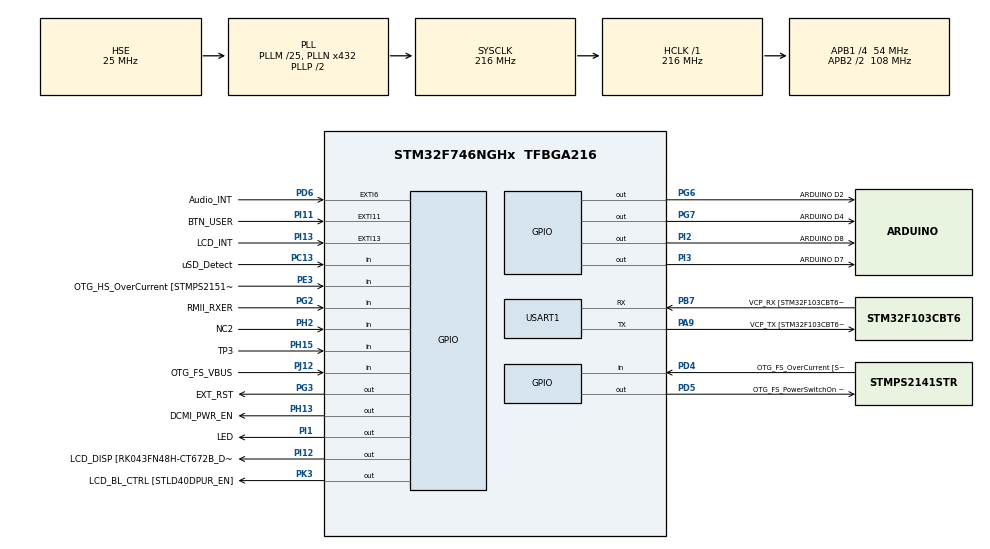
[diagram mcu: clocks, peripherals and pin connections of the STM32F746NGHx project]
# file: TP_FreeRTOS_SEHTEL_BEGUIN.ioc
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FREERTOS.Tasks01=defaultTask,0,128,StartDefaultTask,Default,NULL,Dynamic,NULL,NULL
Mcu.Family=STM32F7
Mcu.Name=STM32F746NGHx
Mcu.Package=TFBGA216
NVIC.PriorityGroup=NVIC_PRIORITYGROUP_4
PA0/WKUP.GPIO_Label=ARDUINO A0
PA0/WKUP.GPIO_Mode=GPIO_MODE_ANALOG
PA0/WKUP.GPIO_PuPd=GPIO_NOPULL
PA0/WKUP.Signal=ADCx_IN0
PA1.GPIO_Label=RMII_REF_CLK [LAN8742A-CZ-TR_REFCLK0]
PA1.Signal=ETH_REF_CLK
PA10.GPIO_Label=OTG_FS_ID
PA10.Signal=USB_OTG_FS_ID
PA11.GPIO_Label=OTG_FS_N
PA11.Signal=USB_OTG_FS_DM
PA12.GPIO_Label=OTG_FS_P
PA12.Signal=USB_OTG_FS_DP
PA13.GPIO_Label=SWDIO
PA13.Mode=Trace_Asynchronous_SW
PA13.Signal=SYS_JTMS-SWDIO
PA14.GPIO_Label=SWCLK
PA14.Mode=Trace_Asynchronous_SW
PA14.Signal=SYS_JTCK-SWCLK
PA15.GPIO_Label=ARDUINO PWM/D9
PA15.GPIO_ModeDefaultPP=GPIO_MODE_AF_PP
PA15.GPIO_PuPd=GPIO_NOPULL
PA15.GPIO_Speed=GPIO_SPEED_FREQ_LOW
PA15.Signal=S_TIM2_CH1_ETR
PA2.GPIO_Label=RMII_MDIO [LAN8742A-CZ-TR_MDIO]
PA2.Signal=ETH_MDIO
PA3.GPIO_Label=ULPI_D0 [USB3320C-EZK_D0]
PA3.Signal=USB_OTG_HS_ULPI_D0
PA4.GPIO_Label=DCMI_HSYNC
PA4.Signal=DCMI_HSYNC
PA5.GPIO_Label=ULPI_CLK [USB3320C-EZK_CLKOUT]
PA5.Signal=USB_OTG_HS_ULPI_CK
PA6.Signal=DCMI_PIXCLK
PA7.GPIO_Label=RMII_CRS_DV [LAN8742A-CZ-TR_CRS_DV]
PA7.Signal=ETH_CRS_DV
PA8.GPIO_Label=ARDUINO PWM/D10
PA8.GPIO_ModeDefaultPP=GPIO_MODE_AF_PP
PA8.GPIO_PuPd=GPIO_NOPULL
PA8.GPIO_Speed=GPIO_SPEED_FREQ_LOW
PA8.Signal=S_TIM1_CH1
PA9.GPIO_Label=VCP_TX [STM32F103CBT6_PA3]
PA9.GPIO_Mode=GPIO_MODE_AF_PP
PA9.GPIO_PuPd=GPIO_NOPULL
PA9.GPIO_Speed=GPIO_SPEED_FREQ_LOW
PA9.Mode=Asynchronous
PA9.Signal=USART1_TX
PB0.GPIO_Label=ULPI_D1 [USB3320C-EZK_D1]
PB0.Signal=USB_OTG_HS_ULPI_D1
PB1.GPIO_Label=ULPI_D2 [USB3320C-EZK_D2]
PB1.Signal=USB_OTG_HS_ULPI_D2
PB10.GPIO_Label=ULPI_D3 [USB3320C-EZK_D3]
PB10.Signal=USB_OTG_HS_ULPI_D3
PB11.GPIO_Label=ULPI_D4 [USB3320C-EZK_D4]
PB11.Signal=USB_OTG_HS_ULPI_D4
PB12.GPIO_Label=ULPI_D5 [USB3320C-EZK_D5]
PB12.Signal=USB_OTG_HS_ULPI_D5
PB13.GPIO_Label=ULPI_D6 [USB3320C-EZK_D6]
PB13.Signal=USB_OTG_HS_ULPI_D6
PB14.GPIO_Label=ARDUINO MISO/D12
PB14.GPIO_Mode=GPIO_MODE_AF_PP
PB14.GPIO_PuPd=GPIO_NOPULL
PB14.GPIO_Speed=GPIO_SPEED_FREQ_LOW
PB14.Signal=SPI2_MISO
PB15.GPIO_Label=ARDUINO MOSI/PWM/D11
PB15.GPIO_Mode=GPIO_MODE_AF_PP
PB15.GPIO_PuPd=GPIO_NOPULL
PB15.GPIO_Speed=GPIO_SPEED_FREQ_LOW
PB15.Signal=SPI2_MOSI
PB2.Signal=QUADSPI_CLK
PB3.GPIO_Label=SWO
PB3.Mode=Trace_Asynchronous_SW
PB3.Signal=SYS_JTDO-SWO
PB4.GPIO_Label=ARDUINO PWM/D3
PB4.GPIO_ModeDefaultPP=GPIO_MODE_AF_PP
PB4.GPIO_PuPd=GPIO_NOPULL
PB4.GPIO_Speed=GPIO_SPEED_FREQ_LOW
PB4.Signal=S_TIM3_CH1
PB5.GPIO_Label=ULPI_D7 [USB3320C-EZK_D7]
PB5.Signal=USB_OTG_HS_ULPI_D7
PB6.GPIO_Label=QSPI_NCS [N25Q128A13EF840E_S]
PB6.Signal=QUADSPI_BK1_NCS
PB7.GPIO_Label=VCP_RX [STM32F103CBT6_PA2]
PB7.GPIO_Mode=GPIO_MODE_AF_PP
PB7.GPIO_PuPd=GPIO_NOPULL
PB7.GPIO_Speed=GPIO_SPEED_FREQ_LOW
PB7.Mode=Asynchronous
PB7.Signal=USART1_RX
PB8.GPIO_Label=ARDUINO SCL/D15
PB8.GPIO_Mode=GPIO_MODE_AF_OD
PB8.GPIO_PuPd=GPIO_NOPULL
PB8.GPIO_Speed=GPIO_SPEED_FREQ_LOW
PB8.Signal=I2C1_SCL
PB9.GPIO_Label=ARDUINO SDA/D14
PB9.GPIO_Mode=GPIO_MODE_AF_OD
PB9.GPIO_PuPd=GPIO_NOPULL
PB9.GPIO_Speed=GPIO_SPEED_FREQ_LOW
PB9.Signal=I2C1_SDA
PC0.GPIO_Label=ULPI_STP [USB3320C-EZK_STP]
PC0.Signal=USB_OTG_HS_ULPI_STP
PC1.GPIO_Label=RMII_MDC [LAN8742A-CZ-TR_MDC]
PC1.Signal=ETH_MDC
PC10.GPIO_Label=SDMMC_D2
PC10.Signal=SDMMC1_D2
PC11.GPIO_Label=SDMMC_D3
PC11.Signal=SDMMC1_D3
PC12.GPIO_Label=SDMMC_CK
PC12.Signal=SDMMC1_CK
PC13.GPIO_Label=uSD_Detect
PC13.Signal=GPIO_Input
PC14/OSC32_IN.GPIO_Label=RCC_OSC32_IN
PC14/OSC32_IN.Signal=RCC_OSC32_IN
PC15/OSC32_OUT.GPIO_Label=RCC_OSC32_OUT
PC15/OSC32_OUT.Signal=RCC_OSC32_OUT
PC2.GPIO_Label=ULPI_DIR [USB3320C-EZK_DIR]
PC2.Signal=USB_OTG_HS_ULPI_DIR
PC3.GPIO_Label=FMC_SDCKE0 [MT48LC4M32B2B5-6A_CKE]
PC3.Signal=FMC_SDCKE0
PC4.GPIO_Label=RMII_RXD0 [LAN8742A-CZ-TR_RXD0]
PC4.Signal=ETH_RXD0
PC5.GPIO_Label=RMII_RXD1 [LAN8742A-CZ-TR_RXD1]
PC5.Signal=ETH_RXD1
PC6.GPIO_Label=ARDUINO TX/D1
PC6.Signal=USART6_TX
PC7.GPIO_Label=ARDUINO RX/D0
PC7.Signal=USART6_RX
PC8.Signal=SDMMC1_D0
PC9.Signal=SDMMC1_D1
PD0.GPIO_Label=FMC_D2 [MT48LC4M32B2B5-6A_DQ2]
PD0.Signal=FMC_D2_DA2
PD1.GPIO_Label=FMC_D3 [MT48LC4M32B2B5-6A_DQ3]
PD1.Signal=FMC_D3_DA3
PD10.GPIO_Label=FMC_D15 [MT48LC4M32B2B5-6A_DQ15]
PD10.Signal=FMC_D15_DA15
PD11.GPIO_Label=QSPI_D0 [N25Q128A13EF840E_DQ0]
PD11.Signal=QUADSPI_BK1_IO0
PD12.GPIO_Label=QSPI_D1 [N25Q128A13EF840E_DQ1]
PD12.Signal=QUADSPI_BK1_IO1
PD13.GPIO_Label=QSPI_D3 [N25Q128A13EF840E_DQ3]
PD13.Signal=QUADSPI_BK1_IO3
PD14.GPIO_Label=FMC_D0 [MT48LC4M32B2B5-6A_DQ0]
PD14.Signal=FMC_D0_DA0
PD15.GPIO_Label=FMC_D1 [MT48LC4M32B2B5-6A_DQ1]
PD15.Signal=FMC_D1_DA1
PD2.GPIO_Label=SDMMC_D0
PD2.Signal=SDMMC1_CMD
PD3.GPIO_Label=DCMI_D5
PD3.Signal=DCMI_D5
PD4.GPIO_Label=OTG_FS_OverCurrent [STMPS2141STR_Fault]
PD4.Signal=GPIO_Input
PD5.GPIO_Label=OTG_FS_PowerSwitchOn [STMPS2141STR_EN]
PD5.PinState=GPIO_PIN_SET
PD5.Signal=GPIO_Output
PD6.GPIO_Label=Audio_INT
PD6.GPIO_ModeDefaultEXTI=GPIO_MODE_EVT_RISING
PD6.Signal=GPXTI6
PD7.GPIO_Label=SPDIF_RX0 [74LVC1G04SE_4]
PD7.Signal=SPDIFRX_IN0
PD8.GPIO_Label=FMC_D13 [MT48LC4M32B2B5-6A_DQ13]
PD8.Signal=FMC_D13_DA13
PD9.GPIO_Label=FMC_D14 [MT48LC4M32B2B5-6A_DQ14]
PD9.Signal=FMC_D14_DA14
PE0.GPIO_Label=FMC_NBL0 [MT48LC4M32B2B5-6A_DQM0]
PE0.Signal=FMC_NBL0
PE1.GPIO_Label=FMC_NBL1 [MT48LC4M32B2B5-6A_DQM1]
PE1.Signal=FMC_NBL1
PE10.GPIO_Label=FMC_D7 [MT48LC4M32B2B5-6A_DQ7]
PE10.Signal=FMC_D7_DA7
PE11.GPIO_Label=FMC_D8 [MT48LC4M32B2B5-6A_DQ8]
PE11.Signal=FMC_D8_DA8
PE12.GPIO_Label=FMC_D9 [MT48LC4M32B2B5-6A_DQ9]
PE12.Signal=FMC_D9_DA9
PE13.GPIO_Label=FMC_D10 [MT48LC4M32B2B5-6A_DQ10]
PE13.Signal=FMC_D10_DA10
PE14.GPIO_Label=FMC_D11 [MT48LC4M32B2B5-6A_DQ11]
PE14.Signal=FMC_D11_DA11
PE15.GPIO_Label=FMC_D12 [MT48LC4M32B2B5-6A_DQ12]
PE15.Signal=FMC_D12_DA12
PE2.GPIO_Label=QSPI_D2 [N25Q128A13EF840E_DQ2]
PE2.Signal=QUADSPI_BK1_IO2
PE3.GPIO_Label=OTG_HS_OverCurrent [STMPS2151STR_FAULT]
PE3.Signal=GPIO_Input
PE4.GPIO_Label=LCD_B0 [RK043FN48H-CT672B_B0]
PE4.Signal=LTDC_B0
PE5.GPIO_Label=DCMI_D6
PE5.Signal=DCMI_D6
PE6.GPIO_Label=DCMI_D7
PE6.Signal=DCMI_D7
PE7.GPIO_Label=FMC_D4 [MT48LC4M32B2B5-6A_DQ4]
PE7.Signal=FMC_D4_DA4
PE8.GPIO_Label=FMC_D5 [MT48LC4M32B2B5-6A_DQ5]
PE8.Signal=FMC_D5_DA5
PE9.GPIO_Label=FMC_D6 [MT48LC4M32B2B5-6A_DQ6]
PE9.Signal=FMC_D6_DA6
PF0.GPIO_Label=FMC_A0 [MT48LC4M32B2B5-6A_A0]
PF0.Signal=FMC_A0
PF1.GPIO_Label=FMC_A1 [MT48LC4M32B2B5-6A_A1]
PF1.Signal=FMC_A1
PF10.GPIO_Label=ARDUINO A1
PF10.GPIO_Mode=GPIO_MODE_ANALOG
PF10.GPIO_PuPd=GPIO_NOPULL
PF10.Signal=ADC3_IN8
PF11.GPIO_Label=FMC_SDNRAS [MT48LC4M32B2B5-6A_RAS]
PF11.Signal=FMC_SDNRAS
PF12.GPIO_Label=FMC_A6 [MT48LC4M32B2B5-6A_A6]
PF12.Signal=FMC_A6
PF13.GPIO_Label=FMC_A7 [MT48LC4M32B2B5-6A_A7]
PF13.Signal=FMC_A7
PF14.GPIO_Label=FMC_A8 [MT48LC4M32B2B5-6A_A8]
PF14.Signal=FMC_A8
PF15.GPIO_Label=FMC_A9 [MT48LC4M32B2B5-6A_A9]
PF15.Signal=FMC_A9
PF2.GPIO_Label=FMC_A2 [MT48LC4M32B2B5-6A_A2]
PF2.Signal=FMC_A2
PF3.GPIO_Label=FMC_A3 [MT48LC4M32B2B5-6A_A3]
PF3.Signal=FMC_A3
PF4.GPIO_Label=FMC_A4 [MT48LC4M32B2B5-6A_A4]
PF4.Signal=FMC_A4
PF5.GPIO_Label=FMC_A5 [MT48LC4M32B2B5-6A_A5]
PF5.Signal=FMC_A5
PF6.GPIO_Label=ARDUINO A5
PF6.GPIO_Mode=GPIO_MODE_ANALOG
PF6.GPIO_PuPd=GPIO_NOPULL
PF6.Signal=ADC3_IN4
PF7.GPIO_Label=ARDUINO A4
PF7.GPIO_Mode=GPIO_MODE_ANALOG
PF7.GPIO_PuPd=GPIO_NOPULL
PF7.Signal=ADC3_IN5
PF8.GPIO_Label=ARDUINO A3
PF8.GPIO_Mode=GPIO_MODE_ANALOG
PF8.GPIO_PuPd=GPIO_NOPULL
PF8.Signal=ADC3_IN6
PF9.GPIO_Label=ARDUINO A2
PF9.GPIO_Mode=GPIO_MODE_ANALOG
PF9.GPIO_PuPd=GPIO_NOPULL
PF9.Signal=ADC3_IN7
PG0.GPIO_Label=FMC_A10 [MT48LC4M32B2B5-6A_A10]
PG0.Signal=FMC_A10
PG1.GPIO_Label=FMC_A11 [MT48LC4M32B2B5-6A_A11]
PG1.Signal=FMC_A11
PG10.GPIO_Label=SAI2_SDB [WM8994ECS/R_ADCDAT1]
PG10.Signal=SAI2_SD_B
PG11.GPIO_Label=RMII_TX_EN [LAN8742A-CZ-TR_TXEN]
PG11.Signal=ETH_TX_EN
PG12.GPIO_Label=LCD_B4 [RK043FN48H-CT672B_B4]
PG12.Signal=LTDC_B4
PG13.GPIO_Label=RMII_TXD0 [LAN8742A-CZ-TR_TXD0]
PG13.Signal=ETH_TXD0
PG14.GPIO_Label=RMII_TXD1 [LAN8742A-CZ-TR_TXD1]
PG14.Signal=ETH_TXD1
PG15.GPIO_Label=FMC_SDNCAS [MT48LC4M32B2B5-6A_CAS]
PG15.Signal=FMC_SDNCAS
PG2.GPIO_Label=RMII_RXER
PG2.Signal=GPIO_Input
PG3.GPIO_Label=EXT_RST
PG3.Signal=GPIO_Output
PG4.GPIO_Label=FMC_BA0 [MT48LC4M32B2B5-6A_BA0]
PG4.Signal=FMC_A14_BA0
PG5.GPIO_Label=FMC_BA1 [MT48LC4M32B2B5-6A_BA1]
PG5.Signal=FMC_A15_BA1
PG6.GPIO_Label=ARDUINO D2
PG6.Signal=GPIO_Output
PG7.GPIO_Label=ARDUINO D4
PG7.Signal=GPIO_Output
PG8.GPIO_Label=FMC_SDCLK [MT48LC4M32B2B5-6A_CLK]
PG8.Signal=FMC_SDCLK
PG9.GPIO_Label=DCMI_VSYNC
PG9.Signal=DCMI_VSYNC
PH0/OSC_IN.GPIO_Label=OSC_25M [NZ2520SB-25.00M_OUT]
PH0/OSC_IN.Mode=HSE-External-Oscillator
PH0/OSC_IN.Signal=RCC_OSC_IN
PH1/OSC_OUT.Mode=HSE-External-Oscillator
PH1/OSC_OUT.Signal=RCC_OSC_OUT
PH10.GPIO_Label=DCMI_D1
PH10.Signal=DCMI_D1
PH11.GPIO_Label=DCMI_D2
PH11.Signal=DCMI_D2
PH12.GPIO_Label=DCMI_D3
PH12.Signal=DCMI_D3
PH13.GPIO_Label=DCMI_PWR_EN
PH13.Signal=GPIO_Output
PH14.GPIO_Label=DCMI_D4
PH14.Signal=DCMI_D4
PH15.GPIO_Label=TP3
PH15.Signal=GPIO_Input
PH2.GPIO_Label=NC2
PH2.Signal=GPIO_Input
PH3.GPIO_Label=FMC_SDNE0 [MT48LC4M32B2B5-6A_CS]
PH3.Signal=FMC_SDNE0
PH4.GPIO_Label=ULPI_NXT [USB3320C-EZK_NXT]
PH4.Signal=USB_OTG_HS_ULPI_NXT
PH5.GPIO_Label=FMC_SDNME [MT48LC4M32B2B5-6A_WE]
PH5.Signal=FMC_SDNWE
PH6.GPIO_Label=ARDUINO PWM/D6
PH6.Signal=S_TIM12_CH1
PH7.GPIO_Label=LCD_SCL [RK043FN48H-CT672B_SCL]
PH7.Signal=I2C3_SCL
PH8.GPIO_Label=LCD_SDA [RK043FN48H-CT672B_SDA]
PH8.Signal=I2C3_SDA
PH9.GPIO_Label=DCMI_D0
PH9.Signal=DCMI_D0
PI0.GPIO_Label=ARDUINO PWM/CS/D5
PI0.GPIO_ModeDefaultPP=GPIO_MODE_AF_PP
PI0.GPIO_PuPd=GPIO_NOPULL
PI0.GPIO_Speed=GPIO_SPEED_FREQ_LOW
PI0.Signal=S_TIM5_CH4
PI1.GPIO_Label=LED
PI1.Signal=GPIO_Output
PI10.GPIO_Label=LCD_HSYNC [RK043FN48H-CT672B_HSYNC]
PI10.Signal=LTDC_HSYNC
PI11.GPIO_Label=BTN_USER
PI11.Signal=GPXTI11
PI12.GPIO_Label=LCD_DISP [RK043FN48H-CT672B_DISP] 
PI12.Signal=GPIO_Output
PI13.GPIO_Label=LCD_INT
PI13.GPIO_ModeDefaultEXTI=GPIO_MODE_EVT_RISING
PI13.Signal=GPXTI13
PI14.GPIO_Label=LCD_CLK [RK043FN48H-CT672B_CLK]
PI14.Signal=LTDC_CLK
PI15.GPIO_Label=LCD_R0 [RK043FN48H-CT672B_R0]
PI15.Signal=LTDC_R0
PI2.GPIO_Label=ARDUINO D8
PI2.Signal=GPIO_Output
PI3.GPIO_Label=ARDUINO D7
PI3.Signal=GPIO_Output
PI4.GPIO_Label=SAI2_MCLKA [WM8994ECS/R_MCLK1]
PI4.Signal=SAI2_MCLK_A
PI5.GPIO_Label=SAI2_SCKA [WM8994ECS/R_BCLK1]
PI5.Signal=SAI2_SCK_A
PI6.GPIO_Label=SAI2_SDA [WM8994ECS/R_DACDAT1]
PI6.Signal=SAI2_SD_A
PI7.GPIO_Label=SAI2_FSA [WM8994ECS/R_LRCLK1]
PI7.Signal=SAI2_FS_A
PI8.GPIO_Label=NC1 [TP2]
PI8.Signal=RTC_TS
PI9.GPIO_Label=LCD_VSYNC [RK043FN48H-CT672B_VSYNC]
PI9.Signal=LTDC_VSYNC
PJ0.GPIO_Label=LCD_R1 [RK043FN48H-CT672B_R1]
PJ0.Signal=LTDC_R1
PJ1.GPIO_Label=LCD_R2 [RK043FN48H-CT672B_R2]
PJ1.Signal=LTDC_R2
PJ10.GPIO_Label=LCD_G3 [RK043FN48H-CT672B_G3]
PJ10.Signal=LTDC_G3
PJ11.GPIO_Label=LCD_G4 [RK043FN48H-CT672B_G4]
PJ11.Signal=LTDC_G4
PJ12.GPIO_Label=OTG_FS_VBUS
PJ12.Signal=GPIO_Input
PJ13.GPIO_Label=LCD_B1 [RK043FN48H-CT672B_B1]
PJ13.Signal=LTDC_B1
PJ14.GPIO_Label=LCD_B2 [RK043FN48H-CT672B_B2]
PJ14.Signal=LTDC_B2
PJ15.GPIO_Label=LCD_B3 [RK043FN48H-CT672B_B3]
PJ15.Signal=LTDC_B3
PJ2.GPIO_Label=LCD_R3 [RK043FN48H-CT672B_R3]
PJ2.Signal=LTDC_R3
PJ3.GPIO_Label=LCD_R4 [RK043FN48H-CT672B_R4]
PJ3.Signal=LTDC_R4
PJ4.GPIO_Label=LCD_R5 [RK043FN48H-CT672B_R5]
PJ4.Signal=LTDC_R5
PJ5.GPIO_Label=LCD_R6 [RK043FN48H-CT672B_R6]
PJ5.Signal=LTDC_R6
PJ6.GPIO_Label=LCD_R7 [RK043FN48H-CT672B_R7]
PJ6.Signal=LTDC_R7
PJ7.GPIO_Label=LCD_G0 [RK043FN48H-CT672B_G0]
PJ7.Signal=LTDC_G0
PJ8.GPIO_Label=LCD_G1 [RK043FN48H-CT672B_G1]
PJ8.Signal=LTDC_G1
PJ9.GPIO_Label=LCD_G2 [RK043FN48H-CT672B_G2]
PJ9.Signal=LTDC_G2
PK0.GPIO_Label=LCD_G5 [RK043FN48H-CT672B_G5]
PK0.Signal=LTDC_G5
PK1.GPIO_Label=LCD_G6 [RK043FN48H-CT672B_G6]
PK1.Signal=LTDC_G6
PK2.GPIO_Label=LCD_G7 [RK043FN48H-CT672B_G7]
PK2.Signal=LTDC_G7
PK3.GPIO_Label=LCD_BL_CTRL [STLD40DPUR_EN]
PK3.Signal=GPIO_Output
PK4.GPIO_Label=LCD_B5 [RK043FN48H-CT672B_B5]
PK4.Signal=LTDC_B5
PK5.GPIO_Label=LCD_B6 [RK043FN48H-CT672B_B6]
PK5.Signal=LTDC_B6
PK6.GPIO_Label=LCD_B7 [RK043FN48H-CT672B_B7]
PK6.Signal=LTDC_B7
PK7.GPIO_Label=LCD_DE [RK043FN48H-CT672B_DE]
PK7.Signal=LTDC_DE
ProjectManager.HeapSize=0x200
ProjectManager.StackSize=0x400
ProjectManager.TargetToolchain=STM32CubeIDE
RCC.AHBFreq_Value=216000000
RCC.APB1CLKDivider=RCC_HCLK_DIV4
RCC.APB1Freq_Value=54000000
RCC.APB1TimFreq_Value=108000000
RCC.APB2CLKDivider=RCC_HCLK_DIV2
RCC.APB2Freq_Value=108000000
RCC.APB2TimFreq_Value=216000000
RCC.CortexFreq_Value=216000000
RCC.HCLKFreq_Value=216000000
RCC.HSE_VALUE=25000000
RCC.HSI_VALUE=16000000
RCC.LSE_VALUE=32768
RCC.PLLM=25
RCC.PLLN=432
RCC.PLLSourceVirtual=RCC_PLLSOURCE_HSE
RCC.SYSCLKFreq_VALUE=216000000
RCC.SYSCLKSource=RCC_SYSCLKSOURCE_PLLCLK
RCC.USBFreq_Value=216000000
RCC.VCOOutputFreq_Value=432000000
SH.ADCx_IN0.0=ADC3_IN0
SH.FMC_A0.0=FMC_A0
SH.FMC_A1.0=FMC_A1
SH.FMC_A10.0=FMC_A10
SH.FMC_A11.0=FMC_A11
SH.FMC_A14_BA0.0=FMC_BA0
SH.FMC_A15_BA1.0=FMC_BA1
SH.FMC_A2.0=FMC_A2
SH.FMC_A3.0=FMC_A3
SH.FMC_A4.0=FMC_A4
SH.FMC_A5.0=FMC_A5
SH.FMC_A6.0=FMC_A6
SH.FMC_A7.0=FMC_A7
SH.FMC_A8.0=FMC_A8
SH.FMC_A9.0=FMC_A9
SH.FMC_D0_DA0.0=FMC_D0
SH.FMC_D10_DA10.0=FMC_D10
SH.FMC_D11_DA11.0=FMC_D11
SH.FMC_D12_DA12.0=FMC_D12
SH.FMC_D13_DA13.0=FMC_D13
SH.FMC_D14_DA14.0=FMC_D14
SH.FMC_D15_DA15.0=FMC_D15
SH.FMC_D1_DA1.0=FMC_D1
SH.FMC_D2_DA2.0=FMC_D2
SH.FMC_D3_DA3.0=FMC_D3
SH.FMC_D4_DA4.0=FMC_D4
SH.FMC_D5_DA5.0=FMC_D5
SH.FMC_D6_DA6.0=FMC_D6
SH.FMC_D7_DA7.0=FMC_D7
SH.FMC_D8_DA8.0=FMC_D8
SH.FMC_D9_DA9.0=FMC_D9
SH.FMC_NBL0.0=FMC_NBL0
SH.FMC_NBL1.0=FMC_NBL1
SH.FMC_SDCLK.0=FMC_SDCLK
SH.FMC_SDNCAS.0=FMC_SDNCAS
SH.FMC_SDNRAS.0=FMC_SDNRAS
SH.FMC_SDNWE.0=FMC_SDNWE
SH.S_TIM12_CH1.0=TIM12_CH1
SH.S_TIM1_CH1.0=TIM1_CH1
SH.S_TIM2_CH1_ETR.0=TIM2_CH1
SH.S_TIM3_CH1.0=TIM3_CH1
SH.S_TIM5_CH4.0=TIM5_CH4
USART1.VirtualMode-Asynchronous=VM_ASYNC
VP_FREERTOS_VS_CMSIS_V1.Mode=CMSIS_V1
board=STM32F746G-DISCO

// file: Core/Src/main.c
/* USER CODE BEGIN Header */
/**
  ******************************************************************************
  * @file           : main.c
  * @brief          : Main program body
  ******************************************************************************
  * @attention
  *
  * Copyright (c) 2025 STMicroelectronics.
  * All rights reserved.
  *
  * This software is licensed under terms that can be found in the LICENSE file
  * in the root directory of this software component.
  * If no LICENSE file comes with this software, it is provided AS-IS.
  *
  ******************************************************************************
  */
/* USER CODE END Header */
#include "main.h"
#include "cmsis_os.h"
#include "usart.h"
#include "gpio.h"

/* USER CODE BEGIN Includes */
#include <stdio.h>
/* USER CODE END Includes */

/* USER CODE BEGIN PD */
#define STACK_SIZE 256
#define TASK1_PRIORITY 1
#define TASK2_PRIORITY 2
#define TASK1_DELAY 1
#define TASK2_DELAY 2

/* USER CODE END PD */

/* USER CODE BEGIN PV */
TaskHandle_t LedTaskHandle;
TaskHandle_t TaskGiveHandle;
TaskHandle_t TaskTakeHandle;
xQueueHandle QueueTask;
SemaphoreHandle_t xMutex;
/* USER CODE END PV */

void SystemClock_Config(void);
void MX_FREERTOS_Init(void);
/* USER CODE BEGIN PFP */
void StartLedTask(void *argument);
void TaskGive(void *argument);
void TaskTake(void *argument);
/* USER CODE END PFP */

/* USER CODE BEGIN 0 */
int __io_putchar(int ch) {
HAL_UART_Transmit(&huart1, (uint8_t *)&ch, 1, HAL_MAX_DELAY);
return ch;
}

void StartLedTask(void *argument) {
  uint8_t ledState = 0;
  vTaskSuspend( NULL); // Suspend itself);
  printf("Entering LedTask\n");
  for (;;) {
    ledState = !ledState;
    HAL_GPIO_WritePin(LED_GPIO_Port, LED_Pin, ledState ? GPIO_PIN_SET : GPIO_PIN_RESET);
    printf("LED : %s\r\n", ledState ? "ON" : "OFF");
    vTaskDelay(pdMS_TO_TICKS(100));
  }
}

void TaskGive(void *argument) {
  uint32_t delay = 100;
  vTaskSuspend( NULL); // Suspend TaskGive
  for (;;) {
    printf("TaskGive: Sending delay value %lu to queue\r\n", delay);
    if (xQueueSend(QueueTask, &delay, pdMS_TO_TICKS(100)) != pdPASS) {
      printf("TaskGive: Failed to send delay value to queue\r\n");
    }
    delay += 100; // Increment delay
    vTaskDelay(pdMS_TO_TICKS(delay));
  }
}

void TaskTake(void *argument) {
  uint32_t receivedValue = 0;
  vTaskSuspend( NULL); // Suspend TaskTake
  for (;;) {
    printf("TaskTake: Waiting to receive value from queue\r\n");
    if (xQueueReceive(QueueTask, &receivedValue, pdMS_TO_TICKS(1000)) == pdPASS) {
      printf("TaskTake: Received delay value %lu from queue\r\n", receivedValue);
    } else {
      printf("TaskTake: Failed to receive value from queue within 1000 ms. Triggering system reset.\r\n");
      vTaskDelay(pdMS_TO_TICKS(10));
      NVIC_SystemReset(); // Trigger reset

    }
  }
}

void task_bug(void * pvParameters) {
    int delay = (int) pvParameters;
    for (;;) {
        if (xSemaphoreTake(xMutex, portMAX_DELAY) == pdTRUE) {
            printf("Je suis %s et je m'endors pour %d ticks\r\n", pcTaskGetName(NULL), delay);
            xSemaphoreGive(xMutex);
        }
        vTaskDelay(delay);
    }
}

/* USER CODE END 0 */

int main(void)
{

  /* MCU Configuration--------------------------------------------------------*/

  /* Reset of all peripherals, Initializes the Flash interface and the Systick. */
  HAL_Init();

  /* Configure the system clock */
  SystemClock_Config();

  /* Initialize all configured peripherals */
  MX_GPIO_Init();
  MX_USART1_UART_Init();
  /* USER CODE BEGIN 2 */
  QueueTask = xQueueCreate(10, sizeof(uint32_t)); // Queue
  if (QueueTask == NULL) {
    printf("Failed to create queue\r\n");
    Error_Handler();
  }

  xMutex = xSemaphoreCreateMutex(); // Mutex
  if (xMutex == NULL) {
    printf("Failed to create Mutex\r\n");
    Error_Handler();
  }

  xTaskCreate(TaskGive, "TaskGive", 128, NULL, tskIDLE_PRIORITY + 1, &TaskGiveHandle);
  xTaskCreate(TaskTake, "TaskTake", 128, NULL, tskIDLE_PRIORITY + 1, &TaskTakeHandle);
  xTaskCreate(StartLedTask, "LedTask", 128, NULL, tskIDLE_PRIORITY + 1, &LedTaskHandle);

  BaseType_t ret;
  ret = xTaskCreate(task_bug, "Tache 1", STACK_SIZE,(void *) TASK1_DELAY, TASK1_PRIORITY, NULL);
  configASSERT(pdPASS == ret);
  ret = xTaskCreate(task_bug, "Tache 2", STACK_SIZE,(void *) TASK2_DELAY, TASK2_PRIORITY, NULL);
  configASSERT(pdPASS == ret);

  printf("_\\||TP_FreeRTOS_SEHTEL_BEGUIN||//_\n");

  /* USER CODE END 2 */

  /* Call init function for freertos objects (in cmsis_os2.c) */
  MX_FREERTOS_Init();

  /* Start scheduler */
  osKernelStart();

  /* We should never get here as control is now taken by the scheduler */

  /* Infinite loop */
  /* USER CODE BEGIN WHILE */
  while (1)
  {
	  if (HAL_GPIO_ReadPin(BTN_USER_GPIO_Port, BTN_USER_Pin) == GPIO_PIN_SET)
	  		{
	  			HAL_GPIO_WritePin(LED_GPIO_Port, LED_Pin, GPIO_PIN_SET);
	  		}
	  		else
	  		{
	  			HAL_GPIO_WritePin(LED_GPIO_Port, LED_Pin, GPIO_PIN_RESET);
	  		}

    /* USER CODE END WHILE */

  }
}

void SystemClock_Config(void)
{
  RCC_OscInitTypeDef RCC_OscInitStruct = {0};
  RCC_ClkInitTypeDef RCC_ClkInitStruct = {0};

  /** Configure the main internal regulator output voltage
  */
  __HAL_RCC_PWR_CLK_ENABLE();
  __HAL_PWR_VOLTAGESCALING_CONFIG(PWR_REGULATOR_VOLTAGE_SCALE1);

  /** Initializes the RCC Oscillators according to the specified parameters
  * in the RCC_OscInitTypeDef structure.
  */
  RCC_OscInitStruct.OscillatorType = RCC_OSCILLATORTYPE_HSE;
  RCC_OscInitStruct.HSEState = RCC_HSE_ON;
  RCC_OscInitStruct.PLL.PLLState = RCC_PLL_ON;
  RCC_OscInitStruct.PLL.PLLSource = RCC_PLLSOURCE_HSE;
  RCC_OscInitStruct.PLL.PLLM = 25;
  RCC_OscInitStruct.PLL.PLLN = 432;
  RCC_OscInitStruct.PLL.PLLP = RCC_PLLP_DIV2;
  RCC_OscInitStruct.PLL.PLLQ = 2;
  if (HAL_RCC_OscConfig(&RCC_OscInitStruct) != HAL_OK)
  {
    Error_Handler();
  }

  /** Activate the Over-Drive mode
  */
  if (HAL_PWREx_EnableOverDrive() != HAL_OK)
  {
    Error_Handler();
  }

  /** Initializes the CPU, AHB and APB buses clocks
  */
  RCC_ClkInitStruct.ClockType = RCC_CLOCKTYPE_HCLK|RCC_CLOCKTYPE_SYSCLK
                              |RCC_CLOCKTYPE_PCLK1|RCC_CLOCKTYPE_PCLK2;
  RCC_ClkInitStruct.SYSCLKSource = RCC_SYSCLKSOURCE_PLLCLK;
  RCC_ClkInitStruct.AHBCLKDivider = RCC_SYSCLK_DIV1;
  RCC_ClkInitStruct.APB1CLKDivider = RCC_HCLK_DIV4;
  RCC_ClkInitStruct.APB2CLKDivider = RCC_HCLK_DIV2;

  if (HAL_RCC_ClockConfig(&RCC_ClkInitStruct, FLASH_LATENCY_7) != HAL_OK)
  {
    Error_Handler();
  }
}

void Error_Handler(void)
{
  __disable_irq();
  while (1)
  {
  }
}
